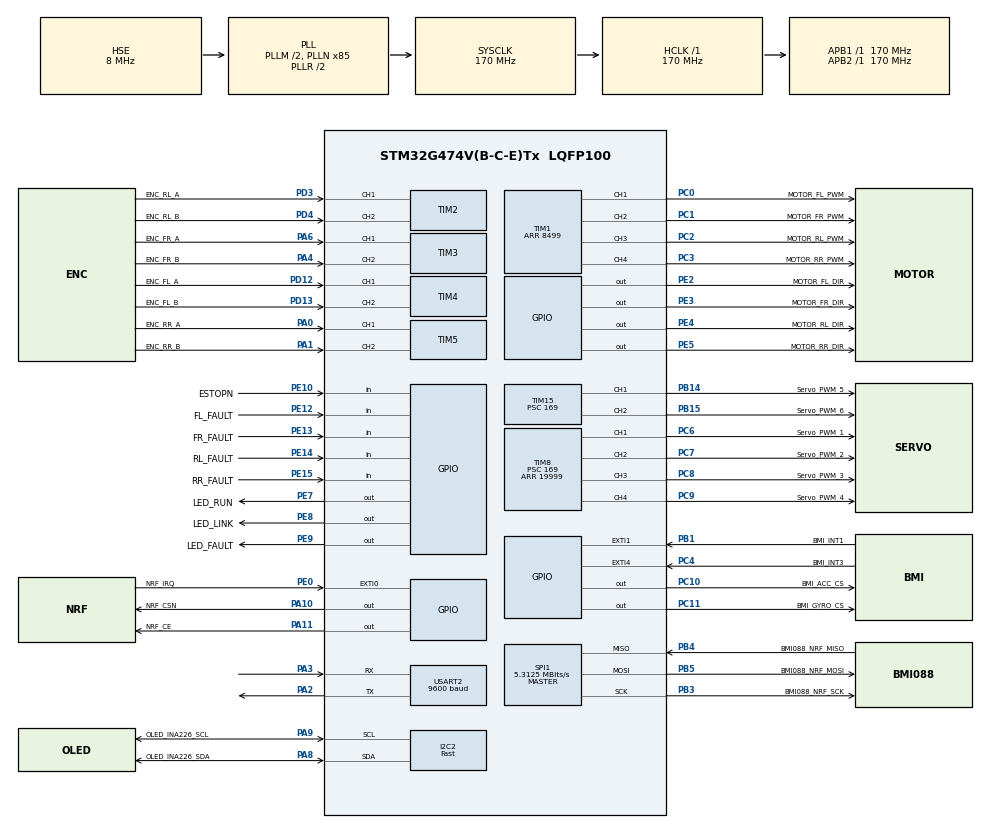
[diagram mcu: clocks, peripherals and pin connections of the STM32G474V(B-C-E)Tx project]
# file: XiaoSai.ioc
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FREERTOS.INCLUDE_vTaskDelayUntil=1
FREERTOS.Tasks01=ChassisControlT,2,256,StartChassisControlTask,Default,NULL,Dynamic,NULL,NULL;ArmTask,0,256,StartArmTask,Default,NULL,Dynamic,NULL,NULL;ProtocolTask,1,256,StartProtocolTask,Default,NULL,Dynamic,NULL,NULL;SensorTask,-2,384,StartSensorTask,Default,NULL,Dynamic,NULL,NULL
FREERTOS.configCHECK_FOR_STACK_OVERFLOW=2
FREERTOS.configTOTAL_HEAP_SIZE=16384
FREERTOS.configUSE_MALLOC_FAILED_HOOK=1
I2C2.I2C_Speed_Mode=I2C_Fast
I2C2.Timing=0x40621236
IWDG.Prescaler=IWDG_PRESCALER_32
IWDG.Reload=100
Mcu.Family=STM32G4
Mcu.Name=STM32G474V(B-C-E)Tx
Mcu.Package=LQFP100
NVIC.PriorityGroup=NVIC_PRIORITYGROUP_4
NVIC.TIM1_TRG_COM_TIM17_IRQn=true\:5\:0\:false\:false\:true\:false\:false\:true\:true
NVIC.TimeBase=TIM1_TRG_COM_TIM17_IRQn
NVIC.TimeBaseIP=TIM17
NVIC.USART2_IRQn=true\:5\:0\:false\:false\:true\:true\:true\:true\:true
PA0.GPIO_Label=ENC_RR_A
PA0.Signal=S_TIM5_CH1
PA1.GPIO_Label=ENC_RR_B
PA1.Signal=S_TIM5_CH2
PA10.GPIO_Label=NRF_CSN
PA10.PinState=GPIO_PIN_SET
PA10.Signal=GPIO_Output
PA11.GPIO_Label=NRF_CE
PA11.Signal=GPIO_Output
PA13.Mode=Serial_Wire
PA13.Signal=SYS_JTMS-SWDIO
PA14.Mode=Serial_Wire
PA14.Signal=SYS_JTCK-SWCLK
PA2.Mode=Asynchronous
PA2.Signal=USART2_TX
PA3.Mode=Asynchronous
PA3.Signal=USART2_RX
PA4.GPIO_Label=ENC_FR_B
PA4.Signal=S_TIM3_CH2
PA6.GPIO_Label=ENC_FR_A
PA6.Signal=S_TIM3_CH1
PA8.GPIO_Label=OLED_INA226_SDA
PA8.Mode=I2C
PA8.Signal=I2C2_SDA
PA9.GPIO_Label=OLED_INA226_SCL
PA9.Mode=I2C
PA9.Signal=I2C2_SCL
PB1.GPIO_Label=BMI_INT1
PB1.GPIO_PuPd=GPIO_PULLDOWN
PB1.Signal=GPXTI1
PB14.GPIO_Label=Servo_PWM_5
PB14.Signal=S_TIM15_CH1
PB15.GPIO_Label=Servo_PWM_6
PB15.Signal=S_TIM15_CH2
PB3.GPIO_Label=BMI088_NRF_SCK
PB3.Mode=Full_Duplex_Master
PB3.Signal=SPI1_SCK
PB4.GPIO_Label=BMI088_NRF_MISO
PB4.Mode=Full_Duplex_Master
PB4.Signal=SPI1_MISO
PB5.GPIO_Label=BMI088_NRF_MOSI
PB5.Mode=Full_Duplex_Master
PB5.Signal=SPI1_MOSI
PC0.GPIO_Label=MOTOR_FL_PWM
PC0.GPIO_Speed=GPIO_SPEED_FREQ_HIGH
PC0.Signal=S_TIM1_CH1
PC1.GPIO_Label=MOTOR_FR_PWM
PC1.GPIO_Speed=GPIO_SPEED_FREQ_HIGH
PC1.Signal=S_TIM1_CH2
PC10.GPIO_Label=BMI_ACC_CS
PC10.PinState=GPIO_PIN_SET
PC10.Signal=GPIO_Output
PC11.GPIO_Label=BMI_GYRO_CS
PC11.PinState=GPIO_PIN_SET
PC11.Signal=GPIO_Output
PC2.GPIO_Label=MOTOR_RL_PWM
PC2.GPIO_Speed=GPIO_SPEED_FREQ_HIGH
PC2.Signal=S_TIM1_CH3
PC3.GPIO_Label=MOTOR_RR_PWM
PC3.GPIO_Speed=GPIO_SPEED_FREQ_HIGH
PC3.Signal=S_TIM1_CH4
PC4.GPIO_Label=BMI_INT3
PC4.GPIO_PuPd=GPIO_PULLDOWN
PC4.Signal=GPXTI4
PC6.GPIO_Label=Servo_PWM_1
PC6.Signal=S_TIM8_CH1
PC7.GPIO_Label=Servo_PWM_2
PC7.Signal=S_TIM8_CH2
PC8.GPIO_Label=Servo_PWM_3
PC8.Signal=S_TIM8_CH3
PC9.GPIO_Label=Servo_PWM_4
PC9.Signal=S_TIM8_CH4
PD12.GPIO_Label=ENC_FL_A
PD12.Signal=S_TIM4_CH1
PD13.GPIO_Label=ENC_FL_B
PD13.Signal=S_TIM4_CH2
PD3.GPIO_Label=ENC_RL_A
PD3.GPIO_Speed=GPIO_SPEED_FREQ_LOW
PD3.Signal=S_TIM2_CH1
PD4.GPIO_Label=ENC_RL_B
PD4.GPIO_Speed=GPIO_SPEED_FREQ_LOW
PD4.Signal=S_TIM2_CH2
PE0.GPIO_Label=NRF_IRQ
PE0.GPIO_ModeDefaultEXTI=GPIO_MODE_IT_FALLING
PE0.GPIO_PuPd=GPIO_PULLUP
PE0.Signal=GPXTI0
PE10.GPIO_Label=ESTOPN
PE10.GPIO_PuPd=GPIO_PULLUP
PE10.Signal=GPIO_Input
PE12.GPIO_Label=FL_FAULT
PE12.GPIO_PuPd=GPIO_PULLUP
PE12.Signal=GPIO_Input
PE13.GPIO_Label=FR_FAULT
PE13.GPIO_PuPd=GPIO_PULLUP
PE13.Signal=GPIO_Input
PE14.GPIO_Label=RL_FAULT
PE14.GPIO_PuPd=GPIO_PULLUP
PE14.Signal=GPIO_Input
PE15.GPIO_Label=RR_FAULT
PE15.GPIO_PuPd=GPIO_PULLUP
PE15.Signal=GPIO_Input
PE2.GPIO_Label=MOTOR_FL_DIR
PE2.Signal=GPIO_Output
PE3.GPIO_Label=MOTOR_FR_DIR
PE3.Signal=GPIO_Output
PE4.GPIO_Label=MOTOR_RL_DIR
PE4.Signal=GPIO_Output
PE5.GPIO_Label=MOTOR_RR_DIR
PE5.Signal=GPIO_Output
PE7.GPIO_Label=LED_RUN
PE7.Signal=GPIO_Output
PE8.GPIO_Label=LED_LINK
PE8.Signal=GPIO_Output
PE9.GPIO_Label=LED_FAULT
PE9.Signal=GPIO_Output
PF0-OSC_IN.Mode=HSE-External-Oscillator
PF0-OSC_IN.Signal=RCC_OSC_IN
PF1-OSC_OUT.Mode=HSE-External-Oscillator
PF1-OSC_OUT.Signal=RCC_OSC_OUT
ProjectManager.HeapSize=0x200
ProjectManager.StackSize=0x400
ProjectManager.TargetToolchain=CMake
RCC.ADC12Freq_Value=170000000
RCC.ADC345Freq_Value=170000000
RCC.AHBFreq_Value=170000000
RCC.APB1Freq_Value=170000000
RCC.APB1TimFreq_Value=170000000
RCC.APB2Freq_Value=170000000
RCC.APB2TimFreq_Value=170000000
RCC.CortexFreq_Value=170000000
RCC.EXTERNAL_CLOCK_VALUE=12288000
RCC.HCLKFreq_Value=170000000
RCC.HSE_VALUE=8000000
RCC.HSI48_VALUE=48000000
RCC.HSI_VALUE=16000000
RCC.LSE_VALUE=32768
RCC.PLLM=RCC_PLLM_DIV2
RCC.PLLN=85
RCC.PLLSourceVirtual=RCC_PLLSOURCE_HSE
RCC.SYSCLKFreq_VALUE=170000000
RCC.SYSCLKSource=RCC_SYSCLKSOURCE_PLLCLK
RCC.USBFreq_Value=170000000
RCC.VCOOutputFreq_Value=340000000
SH.S_TIM15_CH1.0=TIM15_CH1,PWM Generation1 CH1
SH.S_TIM15_CH2.0=TIM15_CH2,PWM Generation2 CH2
SH.S_TIM1_CH1.0=TIM1_CH1,PWM Generation1 CH1
SH.S_TIM1_CH2.0=TIM1_CH2,PWM Generation2 CH2
SH.S_TIM1_CH3.0=TIM1_CH3,PWM Generation3 CH3
SH.S_TIM1_CH4.0=TIM1_CH4,PWM Generation4 CH4
SH.S_TIM2_CH1.0=TIM2_CH1,Encoder_Interface
SH.S_TIM2_CH2.0=TIM2_CH2,Encoder_Interface
SH.S_TIM3_CH1.0=TIM3_CH1,Encoder_Interface
SH.S_TIM3_CH2.0=TIM3_CH2,Encoder_Interface
SH.S_TIM4_CH1.0=TIM4_CH1,Encoder_Interface
SH.S_TIM4_CH2.0=TIM4_CH2,Encoder_Interface
SH.S_TIM5_CH1.0=TIM5_CH1,Encoder_Interface
SH.S_TIM5_CH2.0=TIM5_CH2,Encoder_Interface
SH.S_TIM8_CH1.0=TIM8_CH1,PWM Generation1 CH1
SH.S_TIM8_CH2.0=TIM8_CH2,PWM Generation2 CH2
SH.S_TIM8_CH3.0=TIM8_CH3,PWM Generation3 CH3
SH.S_TIM8_CH4.0=TIM8_CH4,PWM Generation4 CH4
SPI1.BaudRatePrescaler=SPI_BAUDRATEPRESCALER_32
SPI1.CalculateBaudRate=5.3125 MBits/s
SPI1.DataSize=SPI_DATASIZE_8BIT
SPI1.Direction=SPI_DIRECTION_2LINES
SPI1.Mode=SPI_MODE_MASTER
SPI1.NSSPMode=SPI_NSS_PULSE_DISABLE
SPI1.VirtualType=VM_MASTER
TIM1.Channel-PWM\ Generation1\ CH1=TIM_CHANNEL_1
TIM1.Channel-PWM\ Generation2\ CH2=TIM_CHANNEL_2
TIM1.Channel-PWM\ Generation3\ CH3=TIM_CHANNEL_3
TIM1.Channel-PWM\ Generation4\ CH4=TIM_CHANNEL_4
TIM1.OffStateIDLEMode=TIM_OSSI_ENABLE
TIM1.PeriodNoDither=8499
TIM15.Channel-PWM\ Generation1\ CH1=TIM_CHANNEL_1
TIM15.Channel-PWM\ Generation2\ CH2=TIM_CHANNEL_2
TIM15.PeriodNoDither=19999
TIM15.Prescaler=169
TIM2.EncoderMode=TIM_ENCODERMODE_TI12
TIM2.IC1Filter=4
TIM2.IC2Filter=4
TIM3.EncoderMode=TIM_ENCODERMODE_TI12
TIM3.IC1Filter=4
TIM3.IC2Filter=4
TIM4.EncoderMode=TIM_ENCODERMODE_TI12
TIM4.IC1Filter=4
TIM4.IC2Filter=4
TIM5.EncoderMode=TIM_ENCODERMODE_TI12
TIM5.IC1Filter=4
TIM5.IC2Filter=4
TIM8.Channel-PWM\ Generation1\ CH1=TIM_CHANNEL_1
TIM8.Channel-PWM\ Generation2\ CH2=TIM_CHANNEL_2
TIM8.Channel-PWM\ Generation3\ CH3=TIM_CHANNEL_3
TIM8.Channel-PWM\ Generation4\ CH4=TIM_CHANNEL_4
TIM8.PeriodNoDither=19999
TIM8.Prescaler=169
USART2.BaudRate=9600
USART2.VirtualMode-Asynchronous=VM_ASYNC
VP_FREERTOS_VS_CMSIS_V1.Mode=CMSIS_V1
VP_IWDG_VS_IWDG.Mode=IWDG_Activate
VP_SYS_VS_DBSignals.Mode=DisableDeadBatterySignals
VP_SYS_VS_tim17.Mode=TIM17
VP_TIM1_VS_ClockSourceINT.Mode=Internal
board=custom

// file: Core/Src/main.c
/* USER CODE BEGIN Header */
/**
  ******************************************************************************
  * @file           : main.c
  * @brief          : Main program body
  ******************************************************************************
  * @attention
  *
  * Copyright (c) 2026 STMicroelectronics.
  * All rights reserved.
  *
  * This software is licensed under terms that can be found in the LICENSE file
  * in the root directory of this software component.
  * If no LICENSE file comes with this software, it is provided AS-IS.
  *
  ******************************************************************************
  */
/* USER CODE END Header */
#include "main.h"
#include "cmsis_os.h"
#include "i2c.h"
#include "iwdg.h"
#include "spi.h"
#include "tim.h"
#include "usart.h"
#include "gpio.h"

/* USER CODE BEGIN Includes */
#include "safety.h"
/* USER CODE END Includes */

/* USER CODE BEGIN PV */
// 上电时的 RCC->CSR，保存复位原因（看门狗、上电、按键等），供调试和 OLED 显示
volatile uint32_t g_reset_flags = 0U;

// 复位计数，放在 .noinit 段，复位后保留；断电后 magic 对不上，从零开始
// 不接调试器跑一段时间，再连上调试器（不要复位）查看
#define RESET_STATS_MAGIC 0x52535431U
typedef struct
{
  uint32_t magic;
  uint32_t total; // 本次上电以来的复位次数，不含上电本身
  uint32_t pin;   // 只有 PIN：复位脚被外部拉低
  uint32_t power; // BOR：供电电压掉下去
  uint32_t iwdg;  // 看门狗：程序卡住或出错
  uint32_t soft;  // 软件复位：一般是调试器发出的
  uint32_t other;
} ResetStats_t;
__attribute__((section(".noinit"))) volatile ResetStats_t g_reset_stats;
/* USER CODE END PV */

void SystemClock_Config(void);
void MX_FREERTOS_Init(void);

int main(void)
{

  /* USER CODE BEGIN 1 */
  // 复位标志要在其他代码之前读取，读完清除，否则下次复位时会和旧标志叠在一起
  g_reset_flags = RCC->CSR;
  __HAL_RCC_CLEAR_RESET_FLAGS();

  if (g_reset_stats.magic != RESET_STATS_MAGIC)
  {
    g_reset_stats = (ResetStats_t){.magic = RESET_STATS_MAGIC};
  }
  else
  {
    g_reset_stats.total++;
    if ((g_reset_flags & RCC_CSR_IWDGRSTF) != 0U)
    {
      g_reset_stats.iwdg++;
    }
    else if ((g_reset_flags & RCC_CSR_SFTRSTF) != 0U)
    {
      g_reset_stats.soft++;
    }
    else if ((g_reset_flags & RCC_CSR_BORRSTF) != 0U)
    {
      g_reset_stats.power++;
    }
    else if ((g_reset_flags & RCC_CSR_PINRSTF) != 0U)
    {
      g_reset_stats.pin++;
    }
    else
    {
      g_reset_stats.other++;
    }
  }
  /* USER CODE END 1 */

  /* MCU Configuration--------------------------------------------------------*/

  /* Reset of all peripherals, Initializes the Flash interface and the Systick. */
  HAL_Init();

  /* Configure the system clock */
  SystemClock_Config();

  /* USER CODE BEGIN SysInit */
  __HAL_DBGMCU_FREEZE_TIM1();
  __HAL_DBGMCU_FREEZE_IWDG();
  /* USER CODE END SysInit */

  /* Initialize all configured peripherals */
  MX_GPIO_Init();
  MX_TIM3_Init();
  MX_TIM1_Init();
  MX_TIM2_Init();
  MX_TIM4_Init();
  MX_TIM5_Init();
  MX_SPI1_Init();
  MX_TIM8_Init();
  MX_TIM15_Init();
  MX_USART2_UART_Init();
  MX_I2C2_Init();
  MX_IWDG_Init();

  /* Call init function for freertos objects (in cmsis_os2.c) */
  MX_FREERTOS_Init();

  /* Start scheduler */
  osKernelStart();

  /* We should never get here as control is now taken by the scheduler */

  /* Infinite loop */
  while (1)
  {

  }
}

void SystemClock_Config(void)
{
  RCC_OscInitTypeDef RCC_OscInitStruct = {0};
  RCC_ClkInitTypeDef RCC_ClkInitStruct = {0};

  /** Configure the main internal regulator output voltage
  */
  HAL_PWREx_ControlVoltageScaling(PWR_REGULATOR_VOLTAGE_SCALE1_BOOST);

  /** Initializes the RCC Oscillators according to the specified parameters
  * in the RCC_OscInitTypeDef structure.
  */
  RCC_OscInitStruct.OscillatorType = RCC_OSCILLATORTYPE_LSI|RCC_OSCILLATORTYPE_HSE;
  RCC_OscInitStruct.HSEState = RCC_HSE_ON;
  RCC_OscInitStruct.LSIState = RCC_LSI_ON;
  RCC_OscInitStruct.PLL.PLLState = RCC_PLL_ON;
  RCC_OscInitStruct.PLL.PLLSource = RCC_PLLSOURCE_HSE;
  RCC_OscInitStruct.PLL.PLLM = RCC_PLLM_DIV2;
  RCC_OscInitStruct.PLL.PLLN = 85;
  RCC_OscInitStruct.PLL.PLLP = RCC_PLLP_DIV2;
  RCC_OscInitStruct.PLL.PLLQ = RCC_PLLQ_DIV2;
  RCC_OscInitStruct.PLL.PLLR = RCC_PLLR_DIV2;
  if (HAL_RCC_OscConfig(&RCC_OscInitStruct) != HAL_OK)
  {
    Error_Handler();
  }

  /** Initializes the CPU, AHB and APB buses clocks
  */
  RCC_ClkInitStruct.ClockType = RCC_CLOCKTYPE_HCLK|RCC_CLOCKTYPE_SYSCLK
                              |RCC_CLOCKTYPE_PCLK1|RCC_CLOCKTYPE_PCLK2;
  RCC_ClkInitStruct.SYSCLKSource = RCC_SYSCLKSOURCE_PLLCLK;
  RCC_ClkInitStruct.AHBCLKDivider = RCC_SYSCLK_DIV1;
  RCC_ClkInitStruct.APB1CLKDivider = RCC_HCLK_DIV1;
  RCC_ClkInitStruct.APB2CLKDivider = RCC_HCLK_DIV1;

  if (HAL_RCC_ClockConfig(&RCC_ClkInitStruct, FLASH_LATENCY_4) != HAL_OK)
  {
    Error_Handler();
  }
}

void HAL_TIM_PeriodElapsedCallback(TIM_HandleTypeDef *htim)
{
  if (htim->Instance == TIM17)
  {
    HAL_IncTick();
  }
}

void Error_Handler(void)
{
  /* USER CODE BEGIN Error_Handler_Debug */
  /* User can add his own implementation to report the HAL error return state */
  __disable_irq();
  Safety_EmergencyStop();
  while (1)
  {
  }
  /* USER CODE END Error_Handler_Debug */
}

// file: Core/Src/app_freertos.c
/* USER CODE BEGIN Header */
/**
  ******************************************************************************
  * File Name          : app_freertos.c
  * Description        : Code for freertos applications
  ******************************************************************************
  * @attention
  *
  * Copyright (c) 2026 STMicroelectronics.
  * All rights reserved.
  *
  * This software is licensed under terms that can be found in the LICENSE file
  * in the root directory of this software component.
  * If no LICENSE file comes with this software, it is provided AS-IS.
  *
  ******************************************************************************
  */
/* USER CODE END Header */

#include "FreeRTOS.h"
#include "task.h"
#include "main.h"
#include "cmsis_os.h"

/* USER CODE BEGIN Includes */
#include "motor.h"
#include "tim.h"
#include "encoder.h"
#include "controller.h"
#include "mecanum.h"
#include "remote_uart.h"
#include "remote_phone.h"
#include "servo.h"
#include "arm_cycle.h"
#include "iwdg.h"
#include "queue.h"
#include "task_monitor.h"
#include "i2c.h"
#include "i2c_bus_hal.h"
#include "ina226.h"
#include "ssd1306.h"
#include "power_display.h"
#include "robot_cmd.h"
#include "safety.h"
#include "safety_input.h"
#include "chassis_drive.h"
#include "NRF24.h"
#include "nrf_link.h"
#include "handheld_packet.h"
#include "remote_handheld.h"
#include "battery_monitor.h"
/* USER CODE END Includes */

/* USER CODE BEGIN PD */
// 当前使用的遥控来源：REMOTE_SOURCE_PHONE 手机蓝牙，REMOTE_SOURCE_HANDHELD 自制手柄
#define REMOTE_ACTIVE_SOURCE REMOTE_SOURCE_HANDHELD

// 暂定超时阈值，后续根据实际发送周期确认
#define PHONE_TIMEOUT_MS 200U
#define HANDHELD_TIMEOUT_MS 100U // 手柄每 10 ms 发一包，连续丢约 10 包判定掉线

// 限制每周期处理字节数，避免协议任务长时间占用 CPU
#define PHONE_RX_BUDGET 64U
#define REMOTE_PUBLISH_STALE_MS 30U

// INA226 功率采样
#define POWER_SHUNT_OHM     0.002f // 分流电阻 2 mΩ，量程约 ±40.96 A
#define POWER_INA226_ADDR   0x40U  // 按 A0/A1 接法；找不到时自动扫描 0x40～0x4F
#define POWER_RETRY_PERIODS 10U    // 初始化失败后每 10 个周期（约 1 s）重试一次

// OLED 功率显示
#define OLED_ADDR            SSD1306_ADDR_LOW // 按模块 SA0 接法，少数模块是 0x3D
#define OLED_POWER_UP_MS     100U // 上电后等电源稳定再初始化
#define OLED_REFRESH_PERIODS 5U   // 每 5 个周期（约 500 ms）刷新一次
#define OLED_RETRY_PERIODS   10U  // 初始化失败后每 10 个周期（约 1 s）重试一次

// 急停和驱动故障输入，引脚已在 CubeMX 中配置为上拉输入
// 急停按下时 PE10 接地，读到低电平；未接急停或松开时由上拉读到高电平
// 注意：急停线断开时读到高电平，不会触发急停
#define ESTOP_ACTIVE_LEVEL          GPIO_PIN_RESET
// DRV8873H 的 nFAULT 为低电平有效的开漏输出
#define MOTOR_FAULT_ACTIVE_LEVEL    GPIO_PIN_RESET
// 临时：四路驱动故障都不检查
// DRV8873H 的 nOL 接地，运行中开路检测在小电流、小占空比时会误报并锁存 nFAULT，
// 误报时 H 桥照常输出；过流和过热由芯片自己关断输出
// nOL 改接 DVDD 后改回 0U
#define MOTOR_FAULT_IGNORE_MASK     (SAFETY_FAULT_FL | SAFETY_FAULT_FR | SAFETY_FAULT_RL | SAFETY_FAULT_RR)

// 状态灯
#define LED_ON_LEVEL           GPIO_PIN_SET
#define LED_OFF_LEVEL          GPIO_PIN_RESET
#define LED_RUN_TOGGLE_PERIODS 100U // ProtocolTask 5 ms * 100，LED_RUN 每 500 ms 翻转一次

typedef struct
{
  RobotCmdOutput_t output; // 底盘和机械臂命令
  uint32_t stamp_ms;       // 协议任务发布这份命令的时间
} RobotPublished_t;

#define HANDHELD_RADIO_POWERUP_MS 100U // 模块上电后需要稳定的时间
#define HANDHELD_RADIO_RETRY_MS   100U // 配置失败后的重试间隔
#define HANDHELD_RADIO_RX_BUDGET  3U   // 每周期最多读几包，等于 RX FIFO 深度
#define HANDHELD_RADIO_CHECK_MS   100U // 每 100 ms 回读一次模块配置

// 电池监测
#define BATTERY_UPDATE_DT_S 0.1f // SensorTask 周期 100 ms
/* USER CODE END PD */

/* USER CODE BEGIN Variables */
static Motor_t motor_fl;
static Motor_t motor_fr;
static Motor_t motor_rl;
static Motor_t motor_rr;

static Encoder_t encode_fl;
static Encoder_t encode_fr;
static Encoder_t encode_rl;
static Encoder_t encode_rr;

static PID_Instance speed_pid_fl;
static PID_Instance speed_pid_fr;
static PID_Instance speed_pid_rl;
static PID_Instance speed_pid_rr;

static Servo_t servo_1;
static Servo_t servo_2;
static Servo_t servo_3;
static Servo_t servo_4;
static Servo_t servo_5;
static Servo_t servo_6;

// 舵机通道按关节顺序排列：J1～J5、夹爪
static Servo_t *const arm_servos[ARM_JOINT_COUNT] = {
  &servo_1, &servo_2, &servo_3, &servo_4, &servo_5, &servo_6
};

// 只由 ArmTask 访问
static ArmCycle_t arm_cycle;

static float target_rpm_fl = 0.0f;
static float target_rpm_fr = 0.0f;
static float target_rpm_rl = 0.0f;
static float target_rpm_rr = 0.0f;

// 以下状态只由 ProtocolTask 访问
// 其他任务通过 robot_cmd_queue 获取命令副本
static srm_parser_t phone_parser;
static RemoteInput_t remote_input;
static RemotePhoneArm_t phone_arm;
static RobotCmd_t robot_cmd;
static SafetyInput_t safety_input;
static uint32_t led_run_count = 0U;
static bool radio_ready;
static uint32_t radio_last_try_ms;
static uint32_t radio_check_ms;

// 手柄链路测试用，在调试器 Live Watch 里观察
volatile uint32_t radio_rx_count;  // 收到的全部载荷
volatile uint32_t radio_bad_count; // 其中校验失败的载荷

// 手机链路计数，只由 ProtocolTask 修改
static uint32_t phone_rx_bytes;
static uint32_t phone_rx_frames;

// ProtocolTask 写，SensorTask 读，在临界区内整体复制
static PowerDisplayRemote_t remote_diag;

// ArmTask 写，SensorTask 读；16 位读写是原子的，不需要加锁
static volatile uint16_t arm_pulse_diag[ARM_JOINT_COUNT];

// 长度为 1，只保存协议任务最近发布的一份完整命令
static QueueHandle_t robot_cmd_queue = NULL;

// 以下状态只由 SensorTask 访问；power_reading 可在调试器里直接查看
static I2cBus_t i2c2_bus;
static Ina226_t power_sensor;
static Ina226Reading_t power_reading;      // 最近一次有效读数
static bool power_reading_valid = false;   // 本周期读数是否有效
static uint8_t power_sensor_addr = POWER_INA226_ADDR;
static uint32_t power_retry_countdown = 0U;

// 以下状态只由 SensorTask 访问；oled 含 1 KB 显存，必须是静态变量
static Ssd1306_t oled;
static PowerDisplayLine_t oled_lines[POWER_DISPLAY_LINES];
static uint32_t oled_refresh_countdown = 0U;
static uint32_t oled_retry_countdown = 0U;
static ResetCause_t reset_cause = RESET_CAUSE_UNKNOWN;

// SensorTask 写，ProtocolTask 读；枚举按 32 位整数一次写入，不需要加锁
static BatteryMonitor_t battery_monitor;
static volatile BatteryLevel_t battery_level = BATTERY_UNKNOWN;

/* USER CODE END Variables */
osThreadId ChassisControlTHandle;
osThreadId ArmTaskHandle;
osThreadId ProtocolTaskHandle;
osThreadId SensorTaskHandle;

/* USER CODE BEGIN FunctionPrototypes */

/*------------------函数封装层-----------------------*/
static void Motor_InitAndStart(void);
static void Encoder_InitAndStart(void);
static void SpeedPID_InitAll(void);
static void Servo_InitAll(void);
static void ChassisSpeed_Update(float dt_s);
static void WheelSpeed_Update(Motor_t *motor, Encoder_t *encoder,
                              PID_Instance *pid, float target_rpm, float dt_s);
static void PhoneRemote_InitAndStart(void);
static void PhoneRemote_Update(void);
static void HandheldRadio_Update(void);
static void HandheldRadio_PublishStatus(const RobotCmd_t *robot, uint8_t safety_active);
static uint32_t RemoteTimeoutMs(RemoteSource_t source);
static void Chassis_UpdateFromCmd(const ChassisCmd_t *cmd);
static void Chassis_Stop(void);
static bool RobotCmd_GetLatest(RobotCmdOutput_t *out);
static uint8_t Safety_ReadRaw(void);
static void StatusLed_Update(const RobotCmdOutput_t *output, uint8_t safety_active);
static void ArmServos_Start(const uint16_t pulse_us[]);
static void ArmServos_Apply(const uint16_t pulse_us[]);
static bool PowerSensor_Start(void);
static void PowerSensor_Update(void);
static ResetCause_t ResetCause_FromFlags(uint32_t flags);
static void Oled_Update(void);

/* USER CODE END FunctionPrototypes */

void StartChassisControlTask(void const * argument);
void StartArmTask(void const * argument);
void StartProtocolTask(void const * argument);
void StartSensorTask(void const * argument);

void MX_FREERTOS_Init(void); /* (MISRA C 2004 rule 8.1) */

/* Hook prototypes */
void vApplicationStackOverflowHook(xTaskHandle xTask, signed char *pcTaskName);
void vApplicationMallocFailedHook(void);

/* USER CODE BEGIN 4 */
__weak void vApplicationStackOverflowHook(xTaskHandle xTask, signed char *pcTaskName)
{
   /* Run time stack overflow checking is performed if
   configCHECK_FOR_STACK_OVERFLOW is defined to 1 or 2. This hook function is
   called if a stack overflow is detected. */
   (void)xTask;
   (void)pcTaskName;
   taskDISABLE_INTERRUPTS();
   Safety_EmergencyStop();
   for (;;)
   {
   }
}
/* USER CODE END 4 */

/* USER CODE BEGIN 5 */
__weak void vApplicationMallocFailedHook(void)
{
   /* vApplicationMallocFailedHook() will only be called if
   configUSE_MALLOC_FAILED_HOOK is set to 1 in FreeRTOSConfig.h. It is a hook
   function that will get called if a call to pvPortMalloc() fails.
   pvPortMalloc() is called internally by the kernel whenever a task, queue,
   timer or semaphore is created. It is also called by various parts of the
   demo application. If heap_1.c or heap_2.c are used, then the size of the
   heap available to pvPortMalloc() is defined by configTOTAL_HEAP_SIZE in
   FreeRTOSConfig.h, and the xPortGetFreeHeapSize() API function can be used
   to query the size of free heap space that remains (although it does not
   provide information on how the remaining heap might be fragmented). */
   taskDISABLE_INTERRUPTS();
   Safety_EmergencyStop();
   for (;;)
   {
   }
}
/* USER CODE END 5 */

void MX_FREERTOS_Init(void) {
  /* USER CODE BEGIN Init */
  Servo_InitAll();
  TaskMonitor_Init(HAL_GetTick());
  /* USER CODE END Init */

  /* USER CODE BEGIN RTOS_QUEUES */
  /* add queues, ... */
  robot_cmd_queue = xQueueCreate(1, sizeof(RobotPublished_t));
  if (robot_cmd_queue == NULL)
  {
    Error_Handler();
  }
  /* USER CODE END RTOS_QUEUES */

  /* Create the thread(s) */
  /* definition and creation of ChassisControlT */
  osThreadDef(ChassisControlT, StartChassisControlTask, osPriorityHigh, 0, 256);
  ChassisControlTHandle = osThreadCreate(osThread(ChassisControlT), NULL);

  /* definition and creation of ArmTask */
  osThreadDef(ArmTask, StartArmTask, osPriorityNormal, 0, 256);
  ArmTaskHandle = osThreadCreate(osThread(ArmTask), NULL);

  /* definition and creation of ProtocolTask */
  osThreadDef(ProtocolTask, StartProtocolTask, osPriorityAboveNormal, 0, 256);
  ProtocolTaskHandle = osThreadCreate(osThread(ProtocolTask), NULL);

  /* definition and creation of SensorTask */
  osThreadDef(SensorTask, StartSensorTask, osPriorityLow, 0, 384);
  SensorTaskHandle = osThreadCreate(osThread(SensorTask), NULL);

}

/* USER CODE BEGIN Header_StartChassisControlTask */
/**
  * @brief  初始化底盘模块，并周期性更新四轮速度控制
  * @param  argument: Not used
  * @retval None
  */
/* USER CODE END Header_StartChassisControlTask */
void StartChassisControlTask(void const * argument)
{
  /* USER CODE BEGIN StartChassisControlTask */
  (void)argument;

  Motor_InitAndStart();
  Encoder_InitAndStart();
  SpeedPID_InitAll();

  uint32_t last_wake = osKernelSysTick();
  uint32_t last_sample = last_wake;

  for (;;)
  {
    osDelayUntil(&last_wake, 10U);

    // 底盘任务能执行到这里，并且其他任务均正常时才喂狗
    bool all_alive = TaskMonitor_AllAlive(HAL_GetTick());

    if (all_alive)
    {
      HAL_IWDG_Refresh(&hiwdg);
    }

    uint32_t now = osKernelSysTick();
    float dt_s = (float)(now - last_sample) /
                 (float)configTICK_RATE_HZ;
    last_sample = now;

    RobotCmdOutput_t command;
    (void)RobotCmd_GetLatest(&command);

    if (!all_alive || !command.chassis.enabled)
    {
      Chassis_Stop();

      // 停机期间继续采样，保持计数变化与 dt_s 对应
      Encoder_Update(&encode_fl, dt_s);
      Encoder_Update(&encode_fr, dt_s);
      Encoder_Update(&encode_rl, dt_s);
      Encoder_Update(&encode_rr, dt_s);
    }
    else
    {
      Chassis_UpdateFromCmd(&command.chassis);
      ChassisSpeed_Update(dt_s);
    }
  }
  /* USER CODE END StartChassisControlTask */
}

void StartArmTask(void const * argument)
{
  /* USER CODE BEGIN StartArmTask */
  /* Infinite loop */
  (void)argument;

  // 初始化阶段的阻塞时间不能超过本任务 100 ms 的心跳期限
  // 需要等待时使用 osDelay，不使用 HAL_Delay
  // osDelay 不会自动打心跳，等待期间仍须遵守心跳期限

  // 先按 STOW 算好 6 路脉宽再启动 PWM，舵机收到的第一个脉宽就是 STOW
  if (!ArmCycle_Init(&arm_cycle))
  {
    Error_Handler();
  }
  ArmServos_Start(arm_cycle.pulse_us);

  uint32_t last_wake = osKernelSysTick();
  uint32_t last_sample = last_wake;

  for (;;)
  {
    osDelayUntil(&last_wake, 20U);

    uint32_t now = osKernelSysTick();
    float dt_s = (float)(now - last_sample) /
                 (float)configTICK_RATE_HZ;
    last_sample = now;

    // 命令过期时得到全零命令，enabled 为 false，机械臂当场停住
    RobotCmdOutput_t command;
    (void)RobotCmd_GetLatest(&command);

    // 失败时保持上一次的脉宽：不停 PWM，也不输出 0，舵机继续出力
    if (ArmCycle_Step(&arm_cycle, &command.arm, dt_s))
    {
      ArmServos_Apply(arm_cycle.pulse_us);
    }

    for (int idx = 0; idx < ARM_JOINT_COUNT; idx++)
    {
      arm_pulse_diag[idx] = arm_cycle.pulse_us[idx];
    }

    // 计算失败不等于任务卡死，照常打心跳
    TaskMonitor_Beat(TASK_ID_ARM, HAL_GetTick());
  }
  /* USER CODE END StartArmTask */
}

void StartProtocolTask(void const * argument)
{
  /* USER CODE BEGIN StartProtocolTask */
  /* Infinite loop */
  (void)argument;

  // 初始化必须在协议任务的启动宽限内完成
  PhoneRemote_InitAndStart();
  SafetyInput_Init(&safety_input);
  RobotCmd_Init(&robot_cmd);

  uint32_t last_wake = osKernelSysTick();

  for (;;)
  {
    // 接收并解析手机数据，有效帧存进 remote_input
    PhoneRemote_Update();
    HandheldRadio_Update();

    RemoteCommand_t latest;
    bool online = RemoteInput_GetLatest(&remote_input, HAL_GetTick(),
                                        RemoteTimeoutMs(remote_input.selected), &latest);

    uint8_t safety_active = SafetyInput_Update(&safety_input,Safety_ReadRaw());

    RobotPublished_t published =
    {
      .stamp_ms = HAL_GetTick()
    };
    RobotCmd_Update(&robot_cmd, online, &latest, safety_active, &published.output);
    StatusLed_Update(&published.output, safety_active);

    int arm_joint = RemotePhoneArm_GetSelected(&phone_arm);
    if (arm_joint < 0)
    {
      arm_joint = ARM_J1;
    }

    PowerDisplayRemote_t diag = {
      .rx_bytes = phone_rx_bytes,
      .rx_frames = phone_rx_frames,
      .online = online,
      .s1 = latest.enabled,
      .s2 = latest.stop_requested,
      .safety = safety_active,
      .enabled = robot_cmd.enabled,
      .arm_joint = (uint8_t)(arm_joint + 1),
      .arm_jog = published.output.arm.motion.jog[arm_joint],
      .arm_enabled = published.output.arm.enabled
    };
    taskENTER_CRITICAL();
    remote_diag = diag;
    taskEXIT_CRITICAL();
    HandheldRadio_PublishStatus(&robot_cmd, safety_active);

    // 长度为 1 的队列始终覆盖为最新命令，不积累历史命令
    if (xQueueOverwrite(robot_cmd_queue, &published) != pdPASS)
    {
      Error_Handler();
    }

    // 发布完成后打心跳，串口故障本身不等于协议任务卡死
    TaskMonitor_Beat(TASK_ID_PROTOCOL, HAL_GetTick());

    osDelayUntil(&last_wake, 5U);
  }
  /* USER CODE END StartProtocolTask */
}

void StartSensorTask(void const * argument)
{
  /* USER CODE BEGIN StartSensorTask */
  /* Infinite loop */
  (void)argument;

  // 初始化阶段的阻塞时间不能超过本任务 400 ms 的心跳期限
  // 需要等待时使用 osDelay，不使用 HAL_Delay
  // osDelay 不会自动打心跳，等待期间仍须遵守心跳期限

  // I2C2 由 OLED 和 INA226 共用，两者都只在本任务中访问，不需要互斥锁
  if (!I2cBusHal_Init(&i2c2_bus, &hi2c2))
  {
    Error_Handler();
  }

  reset_cause = ResetCause_FromFlags(g_reset_flags);

  // 等 OLED 电源稳定；加上首次全屏刷新（400 kHz 下约 30 ms，100 kHz 下约 110 ms），
  // 第一次打心跳前最多约 220 ms，小于 400 ms 期限
  osDelay(OLED_POWER_UP_MS);

  uint32_t last_wake = osKernelSysTick();

  for (;;)
  {
    // 传感器故障不影响行驶，只是读数无效
    PowerSensor_Update();

    // 欠压时由 ProtocolTask 经 SafetyInput 让车失能
    battery_level = BatteryMonitor_Update(&battery_monitor, power_reading.bus_v,
                                          power_reading_valid, BATTERY_UPDATE_DT_S);

    Oled_Update();

    TaskMonitor_Beat(TASK_ID_SENSOR, HAL_GetTick());

    osDelayUntil(&last_wake, 100U);
  }
  /* USER CODE END StartSensorTask */
}

/* USER CODE BEGIN Application */

/**
 * @brief 将四轮目标和 PWM 输出归零，并清除 PID 动态状态
 */
static void Chassis_Stop(void)
{
  // 清空四轮目标转速
  target_rpm_fl = 0.0f;
  target_rpm_fr = 0.0f;
  target_rpm_rl = 0.0f;
  target_rpm_rr = 0.0f;

  // 将四个电机的 PWM 输出设为零
  Motor_Stop(&motor_fl);
  Motor_Stop(&motor_fr);
  Motor_Stop(&motor_rl);
  Motor_Stop(&motor_rr);

  // 清除积分和历史状态，保留 PID 配置参数
  PID_Clear(&speed_pid_fl);
  PID_Clear(&speed_pid_fr);
  PID_Clear(&speed_pid_rl);
  PID_Clear(&speed_pid_rr);
}

/**
 * @brief 绑定四个电机的 PWM 通道和方向引脚，并以零输出启动 PWM
 */
static void Motor_InitAndStart(void)
{
  Motor_Init(&motor_fl, &htim1, TIM_CHANNEL_1,
       MOTOR_FL_DIR_GPIO_Port, MOTOR_FL_DIR_Pin, 1);
  Motor_Init(&motor_fr, &htim1, TIM_CHANNEL_2,
             MOTOR_FR_DIR_GPIO_Port, MOTOR_FR_DIR_Pin, -1);
  Motor_Init(&motor_rl, &htim1, TIM_CHANNEL_3,
             MOTOR_RL_DIR_GPIO_Port, MOTOR_RL_DIR_Pin, -1);
  Motor_Init(&motor_rr, &htim1, TIM_CHANNEL_4,
             MOTOR_RR_DIR_GPIO_Port, MOTOR_RR_DIR_Pin, 1);

  if (Motor_Start(&motor_fl) != HAL_OK)
  {
    Error_Handler();
  }

  if (Motor_Start(&motor_fr) != HAL_OK)
  {
    Error_Handler();
  }

  if (Motor_Start(&motor_rl) != HAL_OK)
  {
    Error_Handler();
  }

  if (Motor_Start(&motor_rr) != HAL_OK)
  {
    Error_Handler();
  }
}

/**
 * @brief 配置并启动四个车轮的编码器定时器
 * @note 每圈计数和方向修正需用实物验证后，才能将测速结果用于控制
 */
static void Encoder_InitAndStart(void)
{
  Encoder_Init(&encode_fl, &htim4,COUNT_PER_REV,DIRECTION_SIGN_FL,SPEED_FILTER_RC_S);
  Encoder_Init(&encode_fr, &htim3,COUNT_PER_REV,DIRECTION_SIGN_FR,SPEED_FILTER_RC_S);
  Encoder_Init(&encode_rl, &htim2,COUNT_PER_REV,DIRECTION_SIGN_RL,SPEED_FILTER_RC_S);
  Encoder_Init(&encode_rr, &htim5,COUNT_PER_REV,DIRECTION_SIGN_RR,SPEED_FILTER_RC_S);

  if (Encoder_Start(&encode_fl) != HAL_OK)
  {
    Error_Handler();
  }
  if (Encoder_Start(&encode_fr) != HAL_OK)
  {
    Error_Handler();
  }
  if (Encoder_Start(&encode_rl) != HAL_OK)
  {
    Error_Handler();
  }
  if (Encoder_Start(&encode_rr) != HAL_OK)
  {
    Error_Handler();
  }
}

/**
 * @brief 初始化四个车轮的速度 PID 控制器
 * @note Kp、Ki 为实车调出的值，后轮 Kp 比前轮略大
 */
static void SpeedPID_InitAll(void)
{
  PID_Init_Config_s config = {
    .Kd = 0.0f,
    .MaxOut = 1.0f,
    .Improve = PID_IMPROVE_NONE,
  };

  config.Kp = 0.016f;
  config.Ki = 0.04f;
  PID_Init(&speed_pid_fl, &config);
  config.Kp = 0.016f;
  config.Ki = 0.04f;
  PID_Init(&speed_pid_fr, &config);
  config.Kp = 0.02f;
  config.Ki = 0.04f;
  PID_Init(&speed_pid_rl, &config);
  config.Kp = 0.02f;
  config.Ki = 0.04f;
  PID_Init(&speed_pid_rr, &config);
}

/**
 * @brief 将六个舵机对象绑定到对应的定时器通道
 * @note 这里只保存通道和脉宽范围，不启动 PWM
 * @note 500～2500 μs 为底层脉宽保护范围，关节限位由 ARM_CALIB 决定
 */
static void Servo_InitAll(void)
{
  // 舵机 1：PC6，对应 TIM8 通道 1
  if (!Servo_Init(&servo_1, &htim8, TIM_CHANNEL_1, 500U, 2500U))
  {
    Error_Handler();
  }

  // 舵机 2：PC7，对应 TIM8 通道 2
  if (!Servo_Init(&servo_2, &htim8, TIM_CHANNEL_2, 500U, 2500U))
  {
    Error_Handler();
  }

  // 舵机 3：PC8，对应 TIM8 通道 3
  if (!Servo_Init(&servo_3, &htim8, TIM_CHANNEL_3, 500U, 2500U))
  {
    Error_Handler();
  }

  // 舵机 4：PC9，对应 TIM8 通道 4
  if (!Servo_Init(&servo_4, &htim8, TIM_CHANNEL_4, 500U, 2500U))
  {
    Error_Handler();
  }

  // 舵机 5：PB14，对应 TIM15 通道 1
  if (!Servo_Init(&servo_5, &htim15, TIM_CHANNEL_1, 500U, 2500U))
  {
    Error_Handler();
  }

  // 舵机 6：PB15，对应 TIM15 通道 2
  if (!Servo_Init(&servo_6, &htim15, TIM_CHANNEL_2, 500U, 2500U))
  {
    Error_Handler();
  }
}

/**
 * @brief 更新四轮编码器测量值和速度 PID 计算结果
 * @param dt_s 距离上次更新的实际时间，单位为秒
 */
static void ChassisSpeed_Update(float dt_s)
{
  if (dt_s <= 0.0f)
  {
    return;
  }

  WheelSpeed_Update(&motor_fl, &encode_fl, &speed_pid_fl, target_rpm_fl, dt_s);
  WheelSpeed_Update(&motor_fr, &encode_fr, &speed_pid_fr, target_rpm_fr, dt_s);
  WheelSpeed_Update(&motor_rl, &encode_rl, &speed_pid_rl, target_rpm_rl, dt_s);
  WheelSpeed_Update(&motor_rr, &encode_rr, &speed_pid_rr, target_rpm_rr, dt_s);
}

/**
 * @brief 更新单个车轮的编码器测量值，并计算速度 PID
 * @param encoder 该车轮的编码器实例
 * @param pid 该车轮的速度 PID 实例
 * @param target_rpm 目标车轮转速，单位为 RPM
 * @param dt_s 距离上次更新的实际时间，单位为秒
 * @note 当前仅计算 PID，尚未将输出施加到电机
 */
static void WheelSpeed_Update(Motor_t *motor, Encoder_t *encoder,
                              PID_Instance *pid, float target_rpm, float dt_s)
{
  Encoder_Update(encoder, dt_s);
  float output = PID_Calculate(pid, Encoder_GetSpeedRpm(encoder), target_rpm, dt_s);
  Motor_SetOutput(motor, output);
}

/**
 * @brief 初始化手机遥控状态、解析器和接收队列，并启动接收
 * @note 在任务启动阶段调用一次
 */
static void PhoneRemote_InitAndStart(void)
{
  RemoteInput_Init(&remote_input);
  RemotePhoneArm_Init(&phone_arm); // selected = ARM_J1，也就是 0
  RemoteInput_Select(&remote_input, REMOTE_ACTIVE_SOURCE);
  srm_parser_init(&phone_parser);

  if (!RemoteUart_Init())
  {
    Error_Handler();
  }

  if (!RemoteUart_Start())
  {
    Error_Handler();
  }
}

/**
 * @brief 接收并解析手机数据，有效帧存进 remote_input
 * @note 只在 ProtocolTask 中调用；能不能动由 RobotCmd 判断
 * @note 串口异常时清空手机状态，相当于掉线：停止输出，但不改变使能状态
 */
static void PhoneRemote_Update(void)
{
  if (RemoteUart_HasFault())
  {
    remote_input.phone = (RemoteState_t){0};
    phone_arm.last_dpad = 0U;
    srm_parser_init(&phone_parser);

    (void)RemoteUart_Recover();
    return;
  }

  RemoteUartByte_t item;

  for (uint32_t count = 0U; count < PHONE_RX_BUDGET; count++)
  {
    // 队列空了或者出现异常，就结束本次读取
    if (!RemoteUart_Read(&item))
    {
      break;
    }

    phone_rx_bytes++;

    // 使用字节实际到达的时间，而不是当前处理时间
    if (RemotePhone_ProcessByte(&phone_parser, &remote_input, &phone_arm,
                                item.byte, item.received_ms))
    {
      phone_rx_frames++;
    }
  }

  // 处理过程中也可能出现中断异常，不能使用刚解析的命令
  if (RemoteUart_HasFault())
  {
    remote_input.phone = (RemoteState_t){0};
    phone_arm.last_dpad = 0U;
    srm_parser_init(&phone_parser);
    return;
  }

}

/**
 * @brief 按当前挡位把底盘命令换算成四轮目标转速
 * @param cmd 底盘命令，只读
 * @note 仅更新目标转速，不直接设置电机输出
 * @note 推满摇杆时最快那个轮子等于挡位转速；未使能或命令非法时目标转速为零
 * @note 目标转速不经过斜坡，摇杆回中时目标立即为零，由速度 PID 尽快刹停
 */
static void Chassis_UpdateFromCmd(const ChassisCmd_t *cmd)
{
  MecanumWheelRpm_t wheels;

  (void)ChassisDrive_ToWheelRpm(cmd, &wheels);

  target_rpm_fl = wheels.fl;
  target_rpm_fr = wheels.fr;
  target_rpm_rl = wheels.rl;
  target_rpm_rr = wheels.rr;
}

/**
 * @brief 读取最近发布的安全命令，不从队列中取走数据
 * @return 成功且未过期返回 true，否则输出全零并返回 false
 * @note 底盘和机械臂均可调用，两者不会互相消费队列中的命令
 */
static bool RobotCmd_GetLatest(RobotCmdOutput_t *out)
{
  if (out == NULL)
  {
    return false;
  }

  *out = (RobotCmdOutput_t){0};

  RobotPublished_t published;

  if (robot_cmd_queue == NULL ||
      xQueuePeek(robot_cmd_queue, &published, 0U) != pdPASS)
  {
    return false;
  }

  if ((uint32_t)(HAL_GetTick() - published.stamp_ms) >
      REMOTE_PUBLISH_STALE_MS)
  {
    return false;
  }

  *out = published.output;
  return true;
}

/**
 * @brief 设置 6 路初始脉宽并启动舵机 PWM
 * @param pulse_us 按关节顺序排列的脉宽
 * @note 启动失败说明定时器配置有误，进入 Error_Handler
 */
static void ArmServos_Start(const uint16_t pulse_us[])
{
  for (int idx = 0; idx < ARM_JOINT_COUNT; idx++)
  {
    if (Servo_Start(arm_servos[idx], pulse_us[idx]) != HAL_OK)
    {
      Error_Handler();
    }
  }
}

/**
 * @brief 把 6 路脉宽写入舵机
 * @param pulse_us 按关节顺序排列的脉宽
 * @note 脉宽来自 ARM_CALIB，都在 Servo_InitAll 的 500～2500 μs 内；
 *       某一路被拒绝时该路保持上一次的脉宽
 */
static void ArmServos_Apply(const uint16_t pulse_us[])
{
  for (int idx = 0; idx < ARM_JOINT_COUNT; idx++)
  {
    (void)Servo_SetPulseUs(arm_servos[idx], pulse_us[idx]);
  }
}

/**
 * @brief 查找 INA226 地址并初始化
 * @return 成功返回 true
 * @note 总线卡死时最多 16 次 I2C 超时，约 160 ms，小于本任务 400 ms 的心跳期限
 */
static bool PowerSensor_Start(void)
{
  uint8_t addr = 0U;

  if (!Ina226_FindAddress(&i2c2_bus, power_sensor_addr, &addr))
  {
    return false;
  }

  // 记住找到的地址，下次重试先试它
  power_sensor_addr = addr;
  return Ina226_Init(&power_sensor, &i2c2_bus, addr, POWER_SHUNT_OHM);
}

/**
 * @brief 每周期读取一次功率；芯片未就绪时按间隔重试初始化
 */
static void PowerSensor_Update(void)
{
  if (!power_sensor.ready)
  {
    power_reading_valid = false;

    // 不每个周期都重试，避免总线卡死时反复等超时
    if (power_retry_countdown > 0U)
    {
      power_retry_countdown--;
      return;
    }

    if (!PowerSensor_Start())
    {
      power_retry_countdown = POWER_RETRY_PERIODS;
      return;
    }
  }

  Ina226Reading_t reading;
  power_reading_valid = Ina226_Read(&power_sensor, &reading);

  if (power_reading_valid)
  {
    power_reading = reading;
  }
}

/**
 * @brief 把上电时的复位标志换算成复位原因
 * @note 上电时 BOR 和 PIN 标志会同时置位，所以先判断 BOR
 */
static ResetCause_t ResetCause_FromFlags(uint32_t flags)
{
  if ((flags & RCC_CSR_IWDGRSTF) != 0U)
  {
    return RESET_CAUSE_IWDG;
  }
  if ((flags & RCC_CSR_WWDGRSTF) != 0U)
  {
    return RESET_CAUSE_WWDG;
  }
  if ((flags & RCC_CSR_LPWRRSTF) != 0U)
  {
    return RESET_CAUSE_LOW_POWER;
  }
  if ((flags & RCC_CSR_SFTRSTF) != 0U)
  {
    return RESET_CAUSE_SOFTWARE;
  }
  if ((flags & RCC_CSR_BORRSTF) != 0U)
  {
    return RESET_CAUSE_POWER;
  }
  if ((flags & RCC_CSR_PINRSTF) != 0U)
  {
    return RESET_CAUSE_PIN;
  }
  return RESET_CAUSE_UNKNOWN;
}

/**
 * @brief 每 500 ms 刷新一次 OLED；屏幕未就绪时按间隔重试初始化
 * @note 只发送内容有变化的页，平时每次刷新只有电压、电流、功率三行
 */
static void Oled_Update(void)
{
  if (!oled.ready)
  {
    if (oled_retry_countdown > 0U)
    {
      oled_retry_countdown--;
      return;
    }

    if (!Ssd1306_Init(&oled, &i2c2_bus, OLED_ADDR))
    {
      oled_retry_countdown = OLED_RETRY_PERIODS;
      return;
    }

    // 初始化成功后立刻显示
    oled_refresh_countdown = 0U;
  }

  if (oled_refresh_countdown > 0U)
  {
    oled_refresh_countdown--;
    return;
  }
  oled_refresh_countdown = OLED_REFRESH_PERIODS - 1U;

  PowerDisplay_Format(&power_reading, power_reading_valid, reset_cause, oled_lines);
  PowerDisplay_FormatBattery(battery_level, BatteryMonitor_Percent(battery_monitor.filtered_v),
                             oled_lines[5]);

  PowerDisplayRemote_t diag;
  taskENTER_CRITICAL();
  diag = remote_diag;
  taskEXIT_CRITICAL();
  PowerDisplay_FormatRemote(&diag, oled_lines[1]);

  // 标题行换成机械臂诊断
  uint16_t pulse_us = 0U;
  if (diag.arm_joint >= 1U && diag.arm_joint <= ARM_JOINT_COUNT)
  {
    pulse_us = arm_pulse_diag[diag.arm_joint - 1U];
  }
  PowerDisplay_FormatArm(&diag, pulse_us, oled_lines[0]);

  for (uint8_t page = 0U; page < POWER_DISPLAY_LINES; page++)
  {
    (void)Ssd1306_WriteLine(&oled, page, oled_lines[page]);
  }

  // 发送失败时驱动把 ready 清零，下个周期重新初始化
  (void)Ssd1306_Flush(&oled);
}

/**
 * @brief 读取急停和 4 路驱动故障引脚，换算成 SafetyInput 的有效位
 */
static uint8_t Safety_ReadRaw(void)
{
  uint8_t raw = 0U;

  if (HAL_GPIO_ReadPin(FL_FAULT_GPIO_Port, FL_FAULT_Pin) == MOTOR_FAULT_ACTIVE_LEVEL)
  {
    raw |= SAFETY_FAULT_FL;
  }
  if (HAL_GPIO_ReadPin(FR_FAULT_GPIO_Port, FR_FAULT_Pin) == MOTOR_FAULT_ACTIVE_LEVEL)
  {
    raw |= SAFETY_FAULT_FR;
  }
  if (HAL_GPIO_ReadPin(RL_FAULT_GPIO_Port, RL_FAULT_Pin) == MOTOR_FAULT_ACTIVE_LEVEL)
  {
    raw |= SAFETY_FAULT_RL;
  }
  if (HAL_GPIO_ReadPin(RR_FAULT_GPIO_Port, RR_FAULT_Pin) == MOTOR_FAULT_ACTIVE_LEVEL)
  {
    raw |= SAFETY_FAULT_RR;
  }
  if (HAL_GPIO_ReadPin(ESTOPN_GPIO_Port, ESTOPN_Pin) == ESTOP_ACTIVE_LEVEL)
  {
    raw |= SAFETY_ESTOP;
  }
  if (battery_level == BATTERY_CRITICAL)
  {
    raw |= SAFETY_UNDERVOLT;
  }

  return (uint8_t)(raw & ~MOTOR_FAULT_IGNORE_MASK);
}

/**
 * @brief 更新 3 个状态灯
 * @note LED_RUN 闪烁表示调度正常；LED_LINK 亮表示底盘允许运动；LED_FAULT 亮表示急停或驱动故障
 */
static void StatusLed_Update(const RobotCmdOutput_t *output, uint8_t safety_active)
{
  led_run_count++;
  if (led_run_count >= LED_RUN_TOGGLE_PERIODS)
  {
    led_run_count = 0U;
    HAL_GPIO_TogglePin(LED_RUN_GPIO_Port, LED_RUN_Pin);
  }

  HAL_GPIO_WritePin(LED_LINK_GPIO_Port, LED_LINK_Pin,
                    output->chassis.enabled ? LED_ON_LEVEL : LED_OFF_LEVEL);
  HAL_GPIO_WritePin(LED_FAULT_GPIO_Port, LED_FAULT_Pin,
                    safety_active != 0U ? LED_ON_LEVEL : LED_OFF_LEVEL);
}

/**
 * @brief 当前遥控来源允许的最长无有效帧时间
 */
static uint32_t RemoteTimeoutMs(RemoteSource_t source)
{
  return source == REMOTE_SOURCE_HANDHELD ? HANDHELD_TIMEOUT_MS : PHONE_TIMEOUT_MS;
}

/**
 * @brief 接收手柄数据，有效包存进 remote_input.handheld
 * @note 只在 ProtocolTask 中调用；不阻塞，配置失败后每 100 ms 重试一次
 * @note 协议任务 30 ms 内必须打心跳，所以不能在这里 osDelay 等模块上电
 * @note 模块异常时清空手柄状态，相当于掉线：停止输出，但不改变使能状态
 */
static void HandheldRadio_Update(void)
{
  uint32_t now = HAL_GetTick();

  if (!radio_ready)
  {
    if (now < HANDHELD_RADIO_POWERUP_MS ||
        (uint32_t)(now - radio_last_try_ms) < HANDHELD_RADIO_RETRY_MS)
    {
      return;
    }
    radio_last_try_ms = now;
    radio_ready = NrfLink_Configure(nRF24_MODE_RX);
    return;
  }

  uint8_t buf[NRF_LINK_MAX_PAYLOAD];
  uint8_t len = 0U;
  for (uint32_t count = 0U; count < HANDHELD_RADIO_RX_BUDGET; count++)
  {
    if (!NrfLink_Receive(buf, &len))
    {
      break;
    }
    radio_rx_count++;

    // 使用读出这一包的时间；每周期都会读空 FIFO，误差不超过一个任务周期
    if (!RemoteHandheld_ProcessPayload(&remote_input, buf, len, HAL_GetTick()))
    {
      radio_bad_count++;
    }
  }

  // SPI 出错或模块单独复位丢了配置时，丢弃手柄状态，下一周期重新配置模块
  bool lost = NRF24_Port_HasFault();
  if (!lost && (uint32_t)(now - radio_check_ms) >= HANDHELD_RADIO_CHECK_MS)
  {
    radio_check_ms = now;
    lost = !NrfLink_IsConfigured();
  }

  if (lost)
  {
    remote_input.handheld = (RemoteState_t){0};
    radio_ready = false;
  }
}

/**
 * @brief 把小车状态预装成 ACK 载荷，手柄下次发包时随应答带回
 * @note 在 RobotCmd_Update 之后调用，回传的是本周期的使能和挡位
 */
static void HandheldRadio_PublishStatus(const RobotCmd_t *robot, uint8_t safety_active)
{
  if (!radio_ready)
  {
    return;
  }

  HhStatus_t status = {
    .flags = (uint8_t)((robot->enabled ? HH_STATUS_ENABLED : 0U) |
                       (safety_active != 0U ? HH_STATUS_SAFETY : 0U)),
    .gear = robot->gear
  };

  uint8_t buf[HH_STATUS_LEN];
  if (HhStatus_Encode(&status, buf, sizeof(buf)) == HH_STATUS_LEN)
  {
    (void)NrfLink_QueueAck(buf, (uint8_t)sizeof(buf));
  }
}
/* USER CODE END Application */
